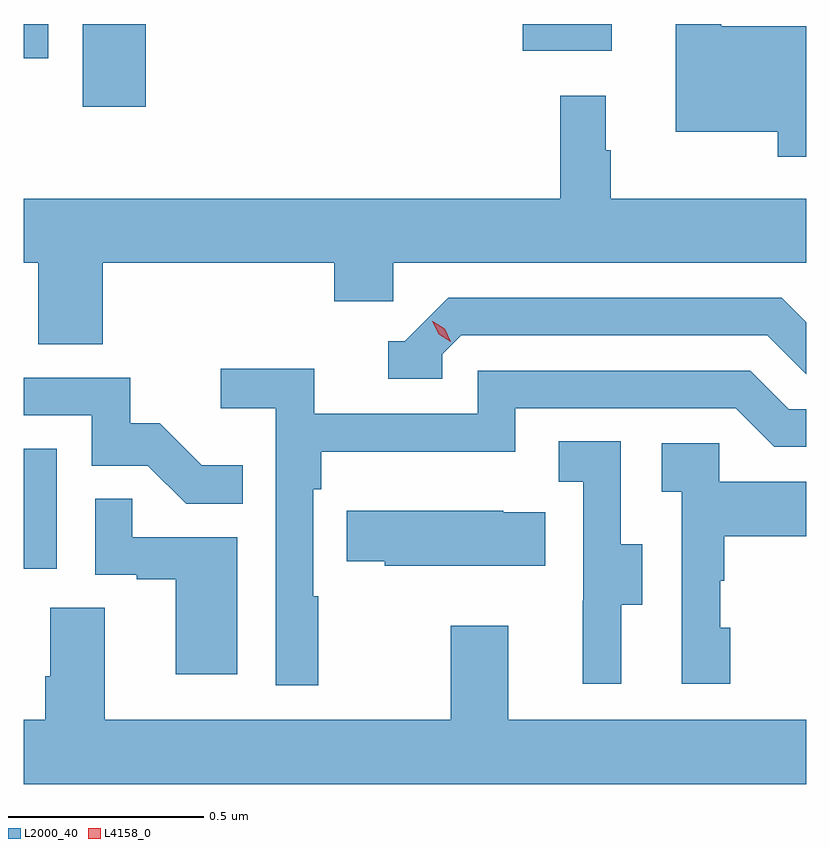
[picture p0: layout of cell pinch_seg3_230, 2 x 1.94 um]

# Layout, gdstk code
import gdstk
lib = gdstk.Library(unit=1e-6, precision=1e-09)
def R(c, l, rs):  # rectangles x0, y0, x1, y1
    for r in rs: c.add(gdstk.rectangle(r[:2], r[2:], *l))
def P(c, l, *ps):  # polygons
    for p in ps: c.add(gdstk.Polygon(p, *l))
L2000_40 = (2000, 40)
L4158_0 = (4158, 0)

pinch_seg3_230 = lib.new_cell('pinch_seg3_230')
R(pinch_seg3_230, L2000_40, [(926.194,737.43,926.278,737.737), (926.345,738.612,926.506,738.823), (926.194,738.735,926.256,738.823), (927.47,738.755,927.697,738.823)])
P(pinch_seg3_230, L2000_40, [(928.194,738.817),(927.977,738.817),(927.977,738.823),(927.86,738.823),(927.86,738.548),(928.122,738.548),(928.122,738.483),(928.194,738.483)],
  [(926.396,738.212),(926.987,738.212),(926.987,738.114),(927.138,738.114),(927.138,738.212),(928.194,738.212),(928.194,738.376),(927.694,738.376),(927.694,738.5),(927.682,738.5),(927.682,738.64),(927.565,738.64),(927.565,738.376),(926.194,738.376),(926.194,738.212),(926.231,738.212),(926.231,738.004),(926.396,738.004)],
  [(927.264,737.979),(927.312,738.027),(928.095,738.027),(928.194,737.928),(928.194,738.061),(928.132,738.123),(927.279,738.123),(927.168,738.012),(927.125,738.012),(927.125,737.916),(927.264,737.916)],
  [(926.947,737.36),(926.934,737.36),(926.934,737.633),(926.954,737.633),(926.954,737.729),(927.45,737.729),(927.45,737.841),(928.014,737.841),(928.113,737.742),(928.194,737.742),(928.194,737.838),(928.15,737.838),(928.051,737.937),(927.354,737.937),(927.354,737.826),(926.936,737.826),(926.936,737.942),(926.697,737.942),(926.697,737.84),(926.838,737.84),(926.838,737.133),(926.947,737.133)],
  [(926.753,737.695),(926.649,737.695),(926.542,737.802),(926.466,737.802),(926.466,737.919),(926.194,737.919),(926.194,737.823),(926.367,737.823),(926.367,737.694),(926.511,737.694),(926.609,737.596),(926.753,737.596)],
  [(927.721,737.338),(927.775,737.338),(927.775,737.493),(927.72,737.493),(927.72,737.756),(927.561,737.756),(927.561,737.653),(927.624,737.653),(927.624,737.349),(927.623,737.349),(927.623,737.136),(927.721,737.136)],
  [(928,737.28),(927.975,737.28),(927.975,737.399),(927.985,737.399),(927.985,737.513),(928.194,737.513),(928.194,737.653),(927.972,737.653),(927.972,737.751),(927.825,737.751),(927.825,737.627),(927.876,737.627),(927.876,737.136),(928,737.136)],
  [(926.74,737.511),(926.471,737.511),(926.471,737.609),(926.376,737.609),(926.376,737.415),(926.483,737.415),(926.483,737.403),(926.582,737.403),(926.582,737.16),(926.74,737.16)],
  [(927.527,737.575),(927.419,737.575),(927.419,737.578),(927.019,737.578),(927.019,737.449),(927.117,737.449),(927.117,737.438),(927.527,737.438)],
  [(928.194,737.044),(927.433,737.044),(927.433,737.284),(927.286,737.284),(927.286,737.044),(926.401,737.044),(926.401,737.33),(926.261,737.33),(926.261,737.156),(926.249,737.156),(926.249,737.044),(926.194,737.044),(926.194,736.88),(928.194,736.88)])
P(pinch_seg3_230, L4158_0, [(927.286,738.011),(927.255,738.03),(927.238,738.063),(927.238,738.063),(927.239,738.063),(927.27,738.044),(927.286,738.011),(927.286,738.011)])

lib.write_gds('pinch_seg3_230.gds')
